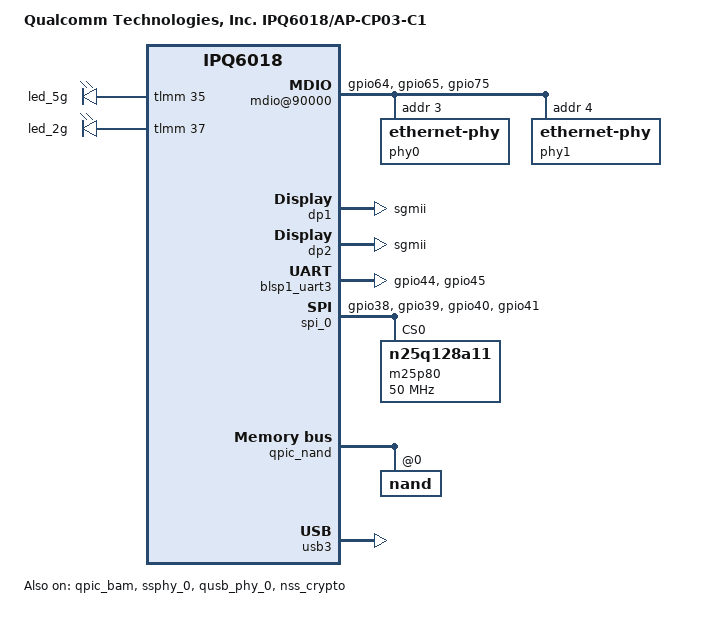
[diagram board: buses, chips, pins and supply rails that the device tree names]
/dts-v1/;
/*
 * Copyright (c) 2019-2021, The Linux Foundation. All rights reserved.
 *
 * Permission to use, copy, modify, and/or distribute this software for any
 * purpose with or without fee is hereby granted, provided that the above
 * copyright notice and this permission notice appear in all copies.
 *
 * THE SOFTWARE IS PROVIDED "AS IS" AND THE AUTHOR DISCLAIMS ALL WARRANTIES
 * WITH REGARD TO THIS SOFTWARE INCLUDING ALL IMPLIED WARRANTIES OF
 * MERCHANTABILITY AND FITNESS. IN NO EVENT SHALL THE AUTHOR BE LIABLE FOR
 * ANY SPECIAL, DIRECT, INDIRECT, OR CONSEQUENTIAL DAMAGES OR ANY DAMAGES
 * WHATSOEVER RESULTING FROM LOSS OF USE, DATA OR PROFITS, WHETHER IN AN
 * ACTION OF CONTRACT, NEGLIGENCE OR OTHER TORTIOUS ACTION, ARISING OUT OF
 * OR IN CONNECTION WITH THE USE OR PERFORMANCE OF THIS SOFTWARE.
 */

#include "ipq6018.dtsi"
#include "ipq6018-cpr-regulator.dtsi"

/ {
	#address-cells = <0x2>;
	#size-cells = <0x2>;
	model = "Qualcomm Technologies, Inc. IPQ6018/AP-CP03-C1";
	compatible = "qcom,ipq6018-ap-cp03-c1", "qcom,ipq6018";
	interrupt-parent = <&intc>;
	qcom,msm-id = <0x1A5 0x0>;

	aliases {
		/*
		 * Aliases as required by u-boot
		 * to patch MAC addresses
		 */
		ethernet0 = "/soc/dp1";
		ethernet1 = "/soc/dp2";
	};

	chosen {
		bootargs = "console=ttyMSM0,115200,n8 rw init=/init";
#ifdef __IPQ_MEM_PROFILE_256_MB__
		bootargs-append = " swiotlb=1";
#else
		bootargs-append = " swiotlb=1 coherent_pool=2M";
#endif
	};

	/*
	 * +=========+==============+========================+
	 * |        |              |                         |
	 * | Region | Start Offset |          Size           |
	 * |        |              |                         |
	 * +--------+--------------+-------------------------+
	 * |        |              |                         |
	 * |        |              |                         |
	 * |        |              |                         |
	 * |        |              |                         |
	 * | Linux  |  0x41000000  |         139MB           |
	 * |        |              |                         |
	 * |        |              |                         |
	 * |        |              |                         |
	 * +--------+--------------+-------------------------+
	 * | TZ App |  0x49B00000  |           6MB           |
	 * +--------+--------------+-------------------------+
	 *
	 * From the available 145 MB for Linux in the first 256 MB,
	 * we are reserving 6 MB for TZAPP.
	 *
	 * Refer arch/arm64/boot/dts/qcom/qcom-ipq6018-memory.dtsi
	 * for memory layout.
	 */

/* TZAPP is enabled only in default memory profile */
#if !defined(__IPQ_MEM_PROFILE_256_MB__) && !defined(__IPQ_MEM_PROFILE_512_MB__)
	reserved-memory {
		tzapp:tzapp@49B00000 {	/* TZAPPS */
			no-map;
			reg = <0x0 0x49B00000 0x0 0x00600000>;
		};
	};
#endif
};

&tlmm {
	uart_pins: uart_pins {
		mux {
			pins = "gpio44", "gpio45";
			function = "blsp2_uart";
			drive-strength = <8>;
			bias-pull-down;
		};
	};

	spi_0_pins: spi_0_pins {
		mux {
			pins = "gpio38", "gpio39", "gpio40", "gpio41";
			function = "blsp0_spi";
			drive-strength = <8>;
			bias-pull-down;
		};
	};

	button_pins: button_pins {
		wps_button {
			pins = "gpio9";
			function = "gpio";
			drive-strength = <8>;
			bias-pull-down;
		};
	};

	mdio_pins: mdio_pinmux {
		mux_0 {
			pins = "gpio64";
			function = "mdc";
			drive-strength = <8>;
			bias-pull-up;
		};
		mux_1 {
			pins = "gpio65";
			function = "mdio";
			drive-strength = <8>;
			bias-pull-up;
		};
		mux_2 {
			pins = "gpio75";
			function = "gpio";
			bias-pull-up;
		};
	};

	leds_pins: leds_pins {
		led_5g {
			pins = "gpio35";
			function = "gpio";
			drive-strength = <8>;
			bias-pull-down;
		};
		led_2g {
			pins = "gpio37";
			function = "gpio";
			drive-strength = <8>;
			bias-pull-down;
		};
	};
};

&soc {
	mdio@90000 {
		pinctrl-0 = <&mdio_pins>;
		pinctrl-names = "default";
		phy-reset-gpio = <&tlmm 75 0>;
		status = "ok";
		phy0: ethernet-phy@0 {
			reg = <3>;
		};
		phy1: ethernet-phy@1 {
			reg = <4>;
		};
	};

	ess-switch@3a000000 {
		switch_cpu_bmp = <0x1>;  /* cpu port bitmap */
		switch_lan_bmp = <0x08>; /* lan port bitmap */
		switch_wan_bmp = <0x10>; /* wan port bitmap */
		switch_inner_bmp = <0xc0>; /*inner port bitmap*/
		switch_mac_mode = <0x0>; /* mac mode for uniphy instance0*/
		switch_mac_mode1 = <0xff>; /* mac mode for uniphy instance1*/
		switch_mac_mode2 = <0xff>; /* mac mode for uniphy instance2*/
		qcom,port_phyinfo {
			port@3 {
				port_id = <3>;
				phy_address = <4>;
			};
			port@4 {
				port_id = <4>;
				phy_address = <3>;
			};
		};
	};

	dp1 {
		device_type = "network";
		compatible = "qcom,nss-dp";
		qcom,id = <3>;
		reg = <0x3a001400 0x200>;
		qcom,mactype = <0>;
		local-mac-address = [000000000000];
		qcom,link-poll = <1>;
		qcom,phy-mdio-addr = <4>;
		phy-mode = "sgmii";
	};

	dp2 {
		device_type = "network";
		compatible = "qcom,nss-dp";
		qcom,id = <4>;
		reg = <0x3a001600 0x200>;
		qcom,mactype = <0>;
		local-mac-address = [000000000000];
		qcom,link-poll = <1>;
		qcom,phy-mdio-addr = <3>;
		phy-mode = "sgmii";
	};

	leds {
		compatible = "gpio-leds";
		pinctrl-0 = <&leds_pins>;
		pinctrl-names = "default";

		led@35 {
			label = "led_5g";
			gpios = <&tlmm 35 GPIO_ACTIVE_HIGH>;
			linux,default-trigger = "led_5g";
			default-state = "off";
		};
		led@37 {
			label = "led_2g";
			gpios = <&tlmm 37 GPIO_ACTIVE_HIGH>;
			linux,default-trigger = "led_2g";
			default-state = "off";
		};
	};
};

&blsp1_uart3 {
	pinctrl-0 = <&uart_pins>;
	pinctrl-names = "default";
	status = "ok";
};

&spi_0 {
	pinctrl-0 = <&spi_0_pins>;
	pinctrl-names = "default";
	cs-select = <0>;
	status = "ok";

	m25p80@0 {
		#address-cells = <1>;
		#size-cells = <1>;
		reg = <0>;
		compatible = "n25q128a11";
		linux,modalias = "m25p80", "n25q128a11";
		spi-max-frequency = <50000000>;
		use-default-sizes;
	};
};

&qpic_bam {
	status = "ok";
};

&qpic_nand {
	status = "ok";

	nand@0 {
		reg = <0>;
		#address-cells = <1>;
		#size-cells = <1>;

		nand-ecc-strength = <4>;
		nand-ecc-step-size = <512>;
		nand-bus-width = <8>;
	};
};

&ssphy_0 {
	status = "ok";
};

&qusb_phy_0 {
	status = "ok";
};

&usb3 {
	status = "ok";
};

&nss_crypto {
	status = "ok";
};
